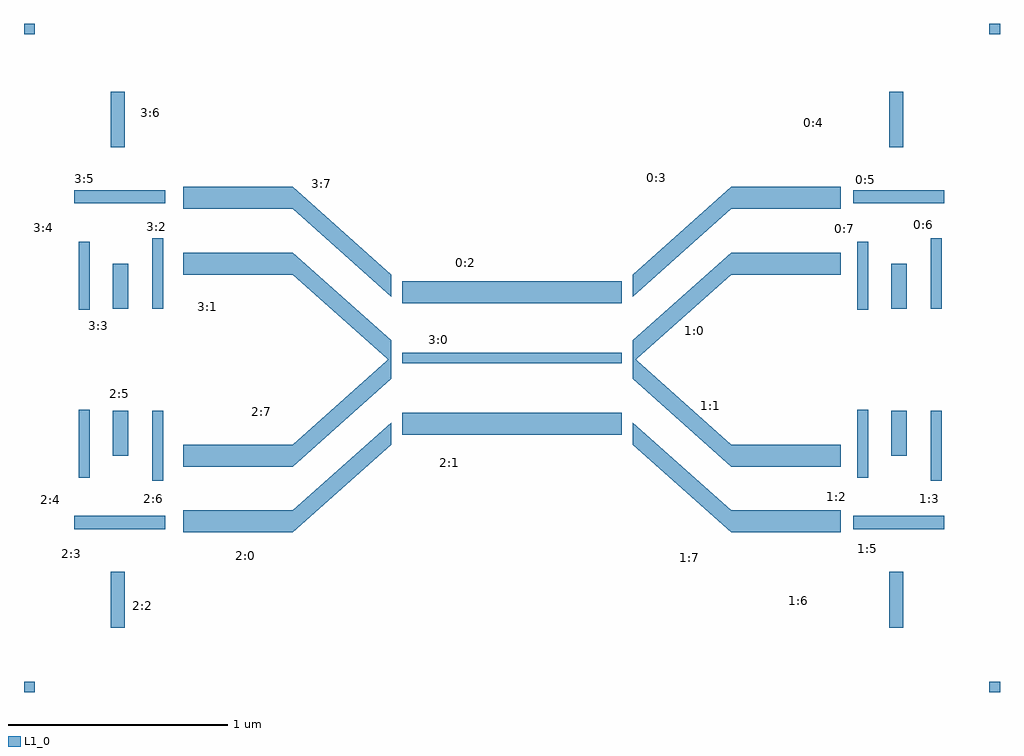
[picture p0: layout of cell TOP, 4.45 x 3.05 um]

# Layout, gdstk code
import gdstk
lib = gdstk.Library(unit=1e-6, precision=1e-09)
def R(c, l, rs):  # rectangles x0, y0, x1, y1
    for r in rs: c.add(gdstk.rectangle(r[:2], r[2:], *l))
def P(c, l, *ps):  # polygons
    for p in ps: c.add(gdstk.Polygon(p, *l))
L1_0 = (1, 0)

top = lib.new_cell('TOP')
R(top, L1_0, [(-2.225,-1.525,-2.175,-1.475), (2.175,-1.525,2.225,-1.475), (-1.83,-1.23,-1.765,-0.975), (1.72,-1.23,1.785,-0.975), (-1.995,-0.78,-1.58,-0.72), (1.555,-0.78,1.97,-0.72), (-1.64,-0.56,-1.59,-0.24), (1.91,-0.56,1.96,-0.24), (-1.975,-0.545,-1.925,-0.235), (1.575,-0.545,1.625,-0.235), (-1.82,-0.445,-1.75,-0.24), (1.73,-0.445,1.8,-0.24), (-0.5,-0.35,0.5,-0.25), (-0.5,-0.025,0.5,0.025), (-1.975,0.22,-1.925,0.53), (1.575,0.22,1.625,0.53), (-1.82,0.225,-1.75,0.43), (-1.64,0.225,-1.59,0.545), (1.73,0.225,1.8,0.43), (1.91,0.225,1.96,0.545), (-0.5,0.25,0.5,0.35), (-1.995,0.705,-1.58,0.765), (1.555,0.705,1.97,0.765), (-1.83,0.96,-1.765,1.215), (1.72,0.96,1.785,1.215), (-2.225,1.475,-2.175,1.525), (2.175,1.475,2.225,1.525)])
P(top, L1_0, [(0.55,0.28),(0.55,0.38),(1,0.78),(1.5,0.78),(1.5,0.68),(1,0.68)],
  [(0.55,-0.02),(0.55,0.08),(1,0.48),(1.5,0.48),(1.5,0.38),(1,0.38)],
  [(1,-0.795),(0.55,-0.395),(0.55,-0.295),(1,-0.695),(1.5,-0.695),(1.5,-0.795)],
  [(1,-0.495),(0.55,-0.095),(0.55,0.005),(1,-0.395),(1.5,-0.395),(1.5,-0.495)],
  [(-0.55,0.28),(-1,0.68),(-1.5,0.68),(-1.5,0.78),(-1,0.78),(-0.55,0.38)],
  [(-0.55,-0.02),(-1,0.38),(-1.5,0.38),(-1.5,0.48),(-1,0.48),(-0.55,0.08)],
  [(-1.5,-0.795),(-1.5,-0.695),(-1,-0.695),(-0.55,-0.295),(-0.55,-0.395),(-1,-0.795)],
  [(-1.5,-0.495),(-1.5,-0.395),(-1,-0.395),(-0.55,0.005),(-0.55,-0.095),(-1,-0.495)])
top.add(gdstk.Label('3:1', (-1.39,0.235), layer=1, texttype=0))
top.add(gdstk.Label('2:7', (-1.14,-0.245), layer=1, texttype=0))
top.add(gdstk.Label('2:6', (-1.635,-0.64), layer=1, texttype=0))
top.add(gdstk.Label('2:5', (-1.79,-0.16), layer=1, texttype=0))
top.add(gdstk.Label('2:4', (-2.105,-0.645), layer=1, texttype=0))
top.add(gdstk.Label('2:3', (-2.01,-0.89), layer=1, texttype=0))
top.add(gdstk.Label('2:2', (-1.685,-1.13), layer=1, texttype=0))
top.add(gdstk.Label('2:1', (-0.285,-0.475), layer=1, texttype=0))
top.add(gdstk.Label('2:0', (-1.215,-0.9), layer=1, texttype=0))
top.add(gdstk.Label('1:7', (0.81,-0.91), layer=1, texttype=0))
top.add(gdstk.Label('1:6', (1.305,-1.105), layer=1, texttype=0))
top.add(gdstk.Label('1:5', (1.62,-0.87), layer=1, texttype=0))
top.add(gdstk.Label('1:3', (1.905,-0.64), layer=1, texttype=0))
top.add(gdstk.Label('1:2', (1.48,-0.63), layer=1, texttype=0))
top.add(gdstk.Label('1:1', (0.905,-0.215), layer=1, texttype=0))
top.add(gdstk.Label('1:0', (0.83,0.125), layer=1, texttype=0))
top.add(gdstk.Label('0:7', (1.515,0.59), layer=1, texttype=0))
top.add(gdstk.Label('0:6', (1.875,0.61), layer=1, texttype=0))
top.add(gdstk.Label('0:5', (1.61,0.815), layer=1, texttype=0))
top.add(gdstk.Label('0:4', (1.375,1.075), layer=1, texttype=0))
top.add(gdstk.Label('0:3', (0.66,0.825), layer=1, texttype=0))
top.add(gdstk.Label('0:2', (-0.21,0.435), layer=1, texttype=0))
top.add(gdstk.Label('3:0', (-0.335,0.085), layer=1, texttype=0))
top.add(gdstk.Label('3:7', (-0.87,0.795), layer=1, texttype=0))
top.add(gdstk.Label('3:6', (-1.65,1.12), layer=1, texttype=0))
top.add(gdstk.Label('3:5', (-1.95,0.82), layer=1, texttype=0))
top.add(gdstk.Label('3:4', (-2.135,0.595), layer=1, texttype=0))
top.add(gdstk.Label('3:3', (-1.885,0.15), layer=1, texttype=0))
top.add(gdstk.Label('3:2', (-1.62,0.6), layer=1, texttype=0))

lib.write_gds('TOP.gds')
